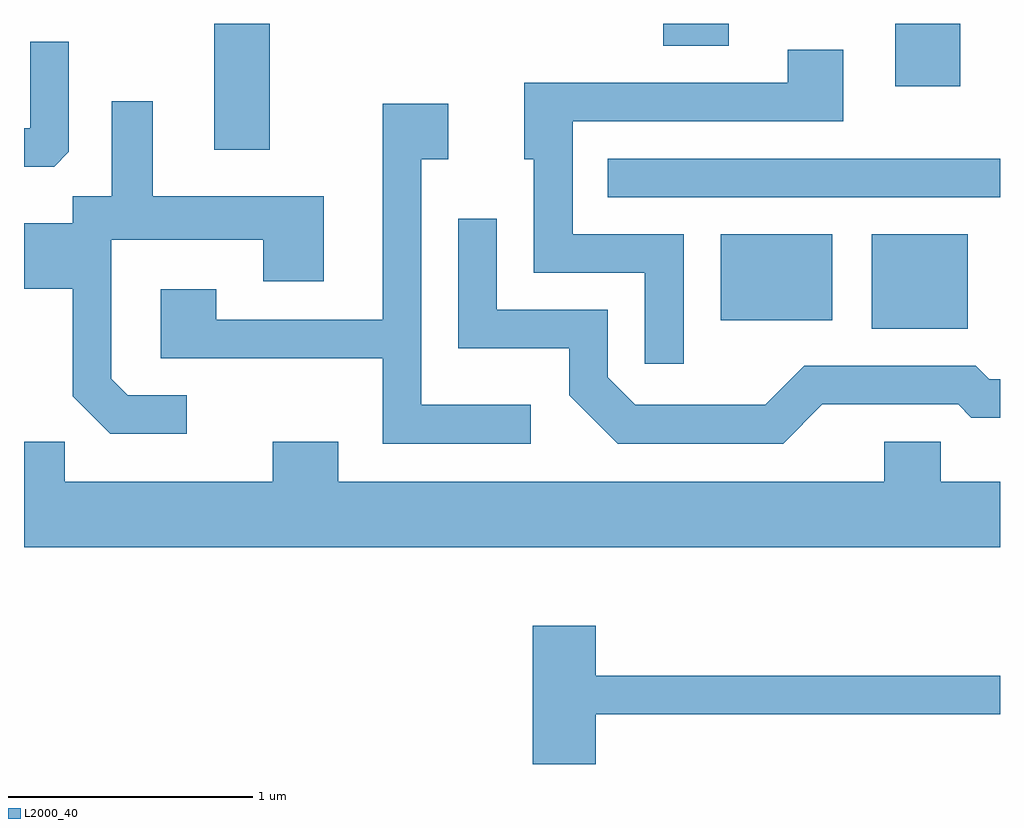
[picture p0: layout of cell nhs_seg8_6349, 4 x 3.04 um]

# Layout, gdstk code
import gdstk
lib = gdstk.Library(unit=1e-6, precision=1e-09)
def R(c, l, rs):  # rectangles x0, y0, x1, y1
    for r in rs: c.add(gdstk.rectangle(r[:2], r[2:], *l))
def P(c, l, *ps):  # polygons
    for p in ps: c.add(gdstk.Polygon(p, *l))
L2000_40 = (2000, 40)

nhs_seg8_6349 = lib.new_cell('nhs_seg8_6349')
R(nhs_seg8_6349, L2000_40, [(379.086,1835.091,379.479,1835.479), (378.466,1835.126,378.924,1835.479), (378.003,1835.631,379.611,1835.789), (376.391,1835.826,376.619,1836.342), (379.181,1836.086,379.449,1836.342), (378.231,1836.251,378.499,1836.342)])
P(nhs_seg8_6349, L2000_40, [(375.794,1835.817),(375.794,1836.268),(375.636,1836.268),(375.636,1835.914),(375.611,1835.914),(375.611,1835.756),(375.734,1835.756)],
  [(378.314,1835.479),(377.859,1835.479),(377.859,1835.941),(378.969,1835.941),(378.969,1836.234),(378.741,1836.234),(378.741,1836.099),(377.661,1836.099),(377.661,1835.786),(377.701,1835.786),(377.701,1835.321),(378.156,1835.321),(378.156,1834.948),(378.314,1834.948)],
  [(376.278,1834.819),(376.037,1834.819),(375.969,1834.887),(375.969,1835.456),(376.591,1835.456),(376.591,1835.286),(376.839,1835.286),(376.839,1835.634),(376.139,1835.634),(376.139,1836.023),(375.971,1836.023),(375.971,1835.634),(375.811,1835.634),(375.811,1835.524),(375.611,1835.524),(375.611,1835.256),(375.811,1835.256),(375.811,1834.814),(375.964,1834.661),(376.278,1834.661)],
  [(377.688,1834.779),(377.239,1834.779),(377.239,1835.786),(377.349,1835.786),(377.349,1836.014),(377.081,1836.014),(377.081,1835.129),(376.399,1835.129),(376.399,1835.254),(376.171,1835.254),(376.171,1834.971),(377.081,1834.971),(377.081,1834.621),(377.688,1834.621)],
  [(378.882,1834.781),(379.439,1834.781),(379.494,1834.726),(379.611,1834.726),(379.611,1834.884),(379.567,1834.884),(379.512,1834.939),(378.809,1834.939),(378.649,1834.779),(378.117,1834.779),(378.004,1834.892),(378.004,1835.169),(377.549,1835.169),(377.549,1835.543),(377.391,1835.543),(377.391,1835.011),(377.846,1835.011),(377.846,1834.819),(378.044,1834.621),(378.722,1834.621)],
  [(379.611,1834.464),(379.369,1834.464),(379.369,1834.629),(379.136,1834.629),(379.136,1834.464),(376.899,1834.464),(376.899,1834.629),(376.631,1834.629),(376.631,1834.464),(375.779,1834.464),(375.779,1834.629),(375.611,1834.629),(375.611,1834.196),(379.611,1834.196)],
  [(377.954,1833.511),(379.611,1833.511),(379.611,1833.669),(377.954,1833.669),(377.954,1833.874),(377.696,1833.874),(377.696,1833.306),(377.954,1833.306)])

lib.write_gds('nhs_seg8_6349.gds')
